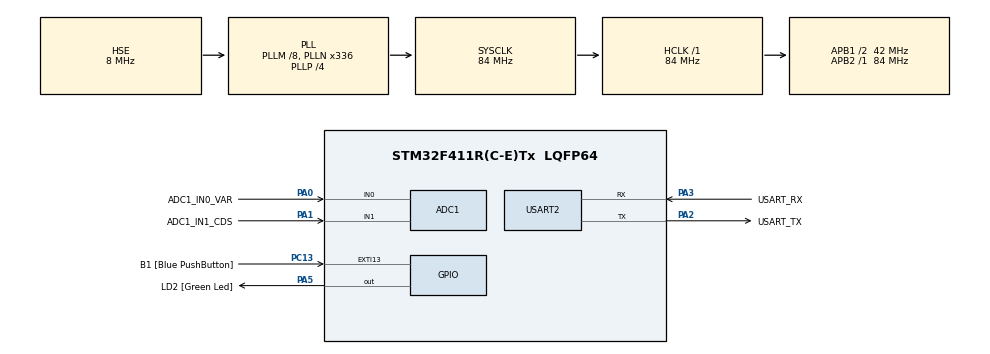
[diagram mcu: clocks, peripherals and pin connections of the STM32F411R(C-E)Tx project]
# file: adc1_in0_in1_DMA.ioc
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ADC1.Channel-0\#ChannelRegularConversion=ADC_CHANNEL_0
ADC1.Channel-1\#ChannelRegularConversion=ADC_CHANNEL_1
ADC1.ClockPrescaler=ADC_CLOCK_SYNC_PCLK_DIV6
ADC1.ContinuousConvMode=DISABLE
ADC1.DMAContinuousRequests=ENABLE
ADC1.NbrOfConversion=2
ADC1.NbrOfConversionFlag=1
ADC1.Rank-0\#ChannelRegularConversion=1
ADC1.Rank-1\#ChannelRegularConversion=2
ADC1.SamplingTime-0\#ChannelRegularConversion=ADC_SAMPLETIME_28CYCLES
ADC1.SamplingTime-1\#ChannelRegularConversion=ADC_SAMPLETIME_28CYCLES
ADC1.ScanConvMode=ENABLE
ADC1.master=1
Dma.ADC1.0.Direction=DMA_PERIPH_TO_MEMORY
Dma.ADC1.0.FIFOMode=DMA_FIFOMODE_DISABLE
Dma.ADC1.0.Instance=DMA2_Stream0
Dma.ADC1.0.MemDataAlignment=DMA_MDATAALIGN_HALFWORD
Dma.ADC1.0.MemInc=DMA_MINC_ENABLE
Dma.ADC1.0.Mode=DMA_NORMAL
Dma.ADC1.0.PeriphDataAlignment=DMA_PDATAALIGN_HALFWORD
Dma.ADC1.0.PeriphInc=DMA_PINC_DISABLE
Dma.ADC1.0.Priority=DMA_PRIORITY_LOW
Dma.Request0=ADC1
Mcu.Family=STM32F4
Mcu.Name=STM32F411R(C-E)Tx
Mcu.Package=LQFP64
NVIC.DMA2_Stream0_IRQn=true\:0\:0\:false\:false\:true\:false\:true\:true
NVIC.PriorityGroup=NVIC_PRIORITYGROUP_0
PA0-WKUP.GPIO_Label=ADC1_IN0_VAR
PA0-WKUP.Signal=ADCx_IN0
PA1.GPIO_Label=ADC1_IN1_CDS
PA1.Signal=ADCx_IN1
PA13.GPIO_Label=TMS
PA13.Mode=Serial_Wire
PA13.Signal=SYS_JTMS-SWDIO
PA14.GPIO_Label=TCK
PA14.Mode=Serial_Wire
PA14.Signal=SYS_JTCK-SWCLK
PA2.GPIO_Label=USART_TX
PA2.Mode=Asynchronous
PA2.Signal=USART2_TX
PA3.GPIO_Label=USART_RX
PA3.Mode=Asynchronous
PA3.Signal=USART2_RX
PA5.GPIO_Label=LD2 [Green Led]
PA5.Signal=GPIO_Output
PB3.GPIO_Label=SWO
PB3.Signal=SYS_JTDO-SWO
PC13-ANTI_TAMP.GPIO_Label=B1 [Blue PushButton]
PC13-ANTI_TAMP.GPIO_ModeDefaultEXTI=GPIO_MODE_IT_FALLING
PC13-ANTI_TAMP.Signal=GPXTI13
PC14-OSC32_IN.Mode=LSE-External-Oscillator
PC14-OSC32_IN.Signal=RCC_OSC32_IN
PC15-OSC32_OUT.Mode=LSE-External-Oscillator
PC15-OSC32_OUT.Signal=RCC_OSC32_OUT
PH0\ -\ OSC_IN.Mode=HSE-External-Oscillator
PH0\ -\ OSC_IN.Signal=RCC_OSC_IN
PH1\ -\ OSC_OUT.Mode=HSE-External-Oscillator
PH1\ -\ OSC_OUT.Signal=RCC_OSC_OUT
ProjectManager.HeapSize=0x200
ProjectManager.StackSize=0x400
ProjectManager.TargetToolchain=STM32CubeIDE
RCC.48MHZClocksFreq_Value=84000000
RCC.AHBFreq_Value=84000000
RCC.APB1CLKDivider=RCC_HCLK_DIV2
RCC.APB1Freq_Value=42000000
RCC.APB1TimFreq_Value=84000000
RCC.APB2Freq_Value=84000000
RCC.APB2TimFreq_Value=84000000
RCC.CortexFreq_Value=84000000
RCC.FLatency-AdvancedSettings=FLASH_LATENCY_2
RCC.HCLKFreq_Value=84000000
RCC.HSE_VALUE=8000000
RCC.HSI_VALUE=16000000
RCC.PLLM=8
RCC.PLLN=336
RCC.PLLP=RCC_PLLP_DIV4
RCC.PLLSourceVirtual=RCC_PLLSOURCE_HSE
RCC.SYSCLKFreq_VALUE=84000000
RCC.SYSCLKSource=RCC_SYSCLKSOURCE_PLLCLK
RCC.VCOOutputFreq_Value=336000000
SH.ADCx_IN0.0=ADC1_IN0,IN0
SH.ADCx_IN1.0=ADC1_IN1,IN1
USART2.VirtualMode=VM_ASYNC
board=NUCLEO-F411RE

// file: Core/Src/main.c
/* USER CODE BEGIN Header */
/**
  ******************************************************************************
  * @file           : main.c
  * @brief          : Main program body
  ******************************************************************************
  * @attention
  *
  * Copyright (c) 2024 STMicroelectronics.
  * All rights reserved.
  *
  * This software is licensed under terms that can be found in the LICENSE file
  * in the root directory of this software component.
  * If no LICENSE file comes with this software, it is provided AS-IS.
  *
  ******************************************************************************
  */
/* USER CODE END Header */
#include "main.h"

/* USER CODE BEGIN Includes */
#include <stdio.h>
/* USER CODE END Includes */

/* USER CODE BEGIN PD */
#ifdef __GNUC__
/* With GCC, small printf (option LD Linker->Libraries->Small printf
   set to 'Yes') calls __io_putchar() */
#define PUTCHAR_PROTOTYPE int __io_putchar(int ch)
#else
#define PUTCHAR_PROTOTYPE int fputc(int ch, FILE *f)
#endif /* __GNUC__ */
/* USER CODE END PD */

ADC_HandleTypeDef hadc1;
DMA_HandleTypeDef hdma_adc1;

UART_HandleTypeDef huart2;

/* USER CODE BEGIN PV */
__IO uint16_t ADCxConvertValue[2]={0};
__IO int adcFlag;
/* USER CODE END PV */

void SystemClock_Config(void);
static void MX_GPIO_Init(void);
static void MX_DMA_Init(void);
static void MX_USART2_UART_Init(void);
static void MX_ADC1_Init(void);

int main(void)
{

  /* MCU Configuration--------------------------------------------------------*/

  /* Reset of all peripherals, Initializes the Flash interface and the Systick. */
  HAL_Init();

  /* Configure the system clock */
  SystemClock_Config();

  /* Initialize all configured peripherals */
  MX_GPIO_Init();
  MX_DMA_Init();
  MX_USART2_UART_Init();
  MX_ADC1_Init();
  /* USER CODE BEGIN 2 */
  printf("start main() - adc DMA2\r\n");
//  if(HAL_ADC_Start_DMA(&hadc1, (uint32_t *)ADCxConvertValue,2) != HAL_OK)
//  {
//	  Error_Handler();
//  }
  /* USER CODE END 2 */

  /* Infinite loop */
  /* USER CODE BEGIN WHILE */
  while (1)
  {
	  if(adcFlag)
	  {
		  adcFlag = 0;
		  printf("VAR=%4d, CDS=%4d\r\n", ADCxConvertValue[0],ADCxConvertValue[1]);
		  if(HAL_ADC_Start_DMA(&hadc1,(uint32_t *)ADCxConvertValue, 2) != HAL_OK)
		  {
			  Error_Handler();
		  }

	  }
    /* USER CODE END WHILE */

  }
}

void SystemClock_Config(void)
{
  RCC_OscInitTypeDef RCC_OscInitStruct = {0};
  RCC_ClkInitTypeDef RCC_ClkInitStruct = {0};

  /** Configure the main internal regulator output voltage
  */
  __HAL_RCC_PWR_CLK_ENABLE();
  __HAL_PWR_VOLTAGESCALING_CONFIG(PWR_REGULATOR_VOLTAGE_SCALE1);

  /** Initializes the RCC Oscillators according to the specified parameters
  * in the RCC_OscInitTypeDef structure.
  */
  RCC_OscInitStruct.OscillatorType = RCC_OSCILLATORTYPE_HSE;
  RCC_OscInitStruct.HSEState = RCC_HSE_ON;
  RCC_OscInitStruct.PLL.PLLState = RCC_PLL_ON;
  RCC_OscInitStruct.PLL.PLLSource = RCC_PLLSOURCE_HSE;
  RCC_OscInitStruct.PLL.PLLM = 8;
  RCC_OscInitStruct.PLL.PLLN = 336;
  RCC_OscInitStruct.PLL.PLLP = RCC_PLLP_DIV4;
  RCC_OscInitStruct.PLL.PLLQ = 4;
  if (HAL_RCC_OscConfig(&RCC_OscInitStruct) != HAL_OK)
  {
    Error_Handler();
  }

  /** Initializes the CPU, AHB and APB buses clocks
  */
  RCC_ClkInitStruct.ClockType = RCC_CLOCKTYPE_HCLK|RCC_CLOCKTYPE_SYSCLK
                              |RCC_CLOCKTYPE_PCLK1|RCC_CLOCKTYPE_PCLK2;
  RCC_ClkInitStruct.SYSCLKSource = RCC_SYSCLKSOURCE_PLLCLK;
  RCC_ClkInitStruct.AHBCLKDivider = RCC_SYSCLK_DIV1;
  RCC_ClkInitStruct.APB1CLKDivider = RCC_HCLK_DIV2;
  RCC_ClkInitStruct.APB2CLKDivider = RCC_HCLK_DIV1;

  if (HAL_RCC_ClockConfig(&RCC_ClkInitStruct, FLASH_LATENCY_2) != HAL_OK)
  {
    Error_Handler();
  }
}

static void MX_ADC1_Init(void)
{

  ADC_ChannelConfTypeDef sConfig = {0};

  /** Configure the global features of the ADC (Clock, Resolution, Data Alignment and number of conversion)
  */
  hadc1.Instance = ADC1;
  hadc1.Init.ClockPrescaler = ADC_CLOCK_SYNC_PCLK_DIV6;
  hadc1.Init.Resolution = ADC_RESOLUTION_12B;
  hadc1.Init.ScanConvMode = ENABLE;
  hadc1.Init.ContinuousConvMode = DISABLE;
  hadc1.Init.DiscontinuousConvMode = DISABLE;
  hadc1.Init.ExternalTrigConvEdge = ADC_EXTERNALTRIGCONVEDGE_NONE;
  hadc1.Init.ExternalTrigConv = ADC_SOFTWARE_START;
  hadc1.Init.DataAlign = ADC_DATAALIGN_RIGHT;
  hadc1.Init.NbrOfConversion = 2;
  hadc1.Init.DMAContinuousRequests = ENABLE;
  hadc1.Init.EOCSelection = ADC_EOC_SINGLE_CONV;
  if (HAL_ADC_Init(&hadc1) != HAL_OK)
  {
    Error_Handler();
  }

  /** Configure for the selected ADC regular channel its corresponding rank in the sequencer and its sample time.
  */
  sConfig.Channel = ADC_CHANNEL_0;
  sConfig.Rank = 1;
  sConfig.SamplingTime = ADC_SAMPLETIME_28CYCLES;
  if (HAL_ADC_ConfigChannel(&hadc1, &sConfig) != HAL_OK)
  {
    Error_Handler();
  }

  /** Configure for the selected ADC regular channel its corresponding rank in the sequencer and its sample time.
  */
  sConfig.Channel = ADC_CHANNEL_1;
  sConfig.Rank = 2;
  if (HAL_ADC_ConfigChannel(&hadc1, &sConfig) != HAL_OK)
  {
    Error_Handler();
  }

}

static void MX_USART2_UART_Init(void)
{

  huart2.Instance = USART2;
  huart2.Init.BaudRate = 115200;
  huart2.Init.WordLength = UART_WORDLENGTH_8B;
  huart2.Init.StopBits = UART_STOPBITS_1;
  huart2.Init.Parity = UART_PARITY_NONE;
  huart2.Init.Mode = UART_MODE_TX_RX;
  huart2.Init.HwFlowCtl = UART_HWCONTROL_NONE;
  huart2.Init.OverSampling = UART_OVERSAMPLING_16;
  if (HAL_UART_Init(&huart2) != HAL_OK)
  {
    Error_Handler();
  }

}

static void MX_DMA_Init(void)
{

  /* DMA controller clock enable */
  __HAL_RCC_DMA2_CLK_ENABLE();

  /* DMA interrupt init */
  /* DMA2_Stream0_IRQn interrupt configuration */
  HAL_NVIC_SetPriority(DMA2_Stream0_IRQn, 0, 0);
  HAL_NVIC_EnableIRQ(DMA2_Stream0_IRQn);

}

static void MX_GPIO_Init(void)
{
  GPIO_InitTypeDef GPIO_InitStruct = {0};

  /* GPIO Ports Clock Enable */
  __HAL_RCC_GPIOC_CLK_ENABLE();
  __HAL_RCC_GPIOH_CLK_ENABLE();
  __HAL_RCC_GPIOA_CLK_ENABLE();
  __HAL_RCC_GPIOB_CLK_ENABLE();

  /*Configure GPIO pin Output Level */
  HAL_GPIO_WritePin(LD2_GPIO_Port, LD2_Pin, GPIO_PIN_RESET);

  /*Configure GPIO pin : B1_Pin */
  GPIO_InitStruct.Pin = B1_Pin;
  GPIO_InitStruct.Mode = GPIO_MODE_IT_FALLING;
  GPIO_InitStruct.Pull = GPIO_NOPULL;
  HAL_GPIO_Init(B1_GPIO_Port, &GPIO_InitStruct);

  /*Configure GPIO pin : LD2_Pin */
  GPIO_InitStruct.Pin = LD2_Pin;
  GPIO_InitStruct.Mode = GPIO_MODE_OUTPUT_PP;
  GPIO_InitStruct.Pull = GPIO_NOPULL;
  GPIO_InitStruct.Speed = GPIO_SPEED_FREQ_LOW;
  HAL_GPIO_Init(LD2_GPIO_Port, &GPIO_InitStruct);

}

/* USER CODE BEGIN 4 */
PUTCHAR_PROTOTYPE
{
  /* Place your implementation of fputc here */
  /* e.g. write a character to the USART6 and Loop until the end of transmission */
  HAL_UART_Transmit(&huart2, (uint8_t *)&ch, 1, 0xFFFF);

  return ch;
}
void HAL_ADC_ConvCpltCallback(ADC_HandleTypeDef *AdcHandle)
{
	adcFlag = 1;
}
/* USER CODE END 4 */

void Error_Handler(void)
{
  __disable_irq();
  while (1)
  {
  }
}
